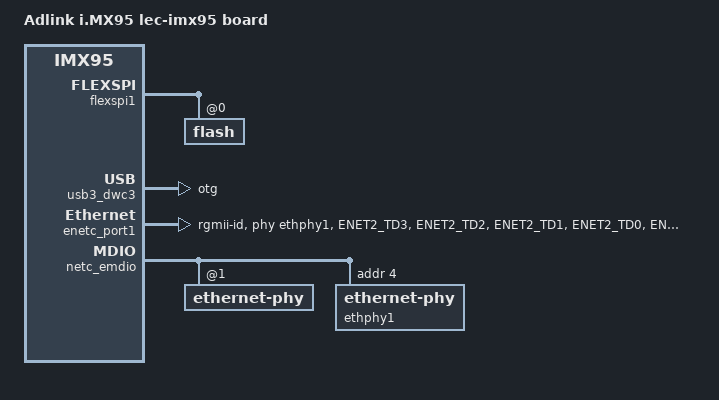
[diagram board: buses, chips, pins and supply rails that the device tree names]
#include "../dts/upstream/src/arm64/freescale/imx95-19x19-evk.dts"
#include "lec-imx95-u-boot.dtsi"

/ {
	model = "Adlink i.MX95 lec-imx95 board";
	compatible = "fsl,imx95-19x19-evk", "fsl,imx95", "adlink,lec-imx95";


};

&reg_usb_vbus {
        /delete-property/ gpio;
};

&reg_aqr_stby {
        /delete-property/ gpio;
};

&reg_aqr_en {
        /delete-property/ gpio;
};


/delete-node/ &reg_serdes_en;

&flexspi1 {
        flash@0 {
                spi-tx-bus-width = <1>;
                spi-rx-bus-width = <1>;
        };
};

&lpi2c3 {
        /delete-property/ status;
};

&lpi2c4 {
        /delete-property/ status;
};

&lpi2c5 {
        /delete-property/ status;
};

&lpi2c6 {
        /delete-property/ status;
};

&lpi2c7 {
        /delete-property/ status;
	/delete-node/ tcpc@50;
};

&usb2 {
	/delete-property/ vbus-supply;
};

&usb3_dwc3 {
        dr_mode = "otg";
        /delete-node/ port;
};

&usb3_phy {
        /delete-node/ port;
};

&enetc_port2 {
        status = "disabled";
        /delete-property/ serdes-supply;
        /delete-property/ managed;
};

&enetc_port1 {
 	pinctrl-names = "default";
 	pinctrl-0 = <&pinctrl_enetc1>;
 	phy-handle = <&ethphy1>;
 	phy-mode = "rgmii-id";
 	status = "okay";
};

&netc_emdio {
        /delete-property/ phy-supply;

        ethernet-phy@1 {
                eee-broken-1000t;
                /delete-property/ reset-gpios;
                /delete-property/ realtek,clkout-disable;
        };

        ethphy1: ethernet-phy@4 {
                reg = <4>;
                eee-broken-1000t;
                reset-assert-us = <10000>;
                reset-deassert-us = <80000>;
        };
};

&pinctrl_lpi2c3 {
        fsl,pins = <
                IMX95_PAD_GPIO_IO28__LPI2C3_SDA            0x40000b9e
                IMX95_PAD_GPIO_IO29__LPI2C3_SCL            0x40000b9e
        >;
};

&pinctrl_flexspi1 {
        fsl,pins = <
                IMX95_PAD_XSPI1_SS0_B__FLEXSPI1_A_SS0_B                 0x3fe
                IMX95_PAD_XSPI1_SCLK__FLEXSPI1_A_SCLK                   0x3fe
                IMX95_PAD_XSPI1_DATA0__FLEXSPI1_A_DATA_BIT0             0x3fe
                IMX95_PAD_XSPI1_DATA1__FLEXSPI1_A_DATA_BIT1             0x3fe
                IMX95_PAD_XSPI1_DATA2__FLEXSPI1_A_DATA_BIT2             0x3fe
                IMX95_PAD_XSPI1_DATA3__FLEXSPI1_A_DATA_BIT3             0x3fe
        >;
};


&scmi_iomuxc {
        pinctrl_enetc1: enetc1grp {
                fsl,pins = <
                        IMX95_PAD_ENET2_TD3__NETCMIX_TOP_ETH1_RGMII_TD3         0x57e
                        IMX95_PAD_ENET2_TD2__NETCMIX_TOP_ETH1_RGMII_TD2         0x57e
                        IMX95_PAD_ENET2_TD1__NETCMIX_TOP_ETH1_RGMII_TD1         0x57e
                        IMX95_PAD_ENET2_TD0__NETCMIX_TOP_ETH1_RGMII_TD0         0x57e
                        IMX95_PAD_ENET2_TX_CTL__NETCMIX_TOP_ETH1_RGMII_TX_CTL   0x57e
                        IMX95_PAD_ENET2_TXC__NETCMIX_TOP_ETH1_RGMII_TX_CLK      0x5fe
                        IMX95_PAD_ENET2_RX_CTL__NETCMIX_TOP_ETH1_RGMII_RX_CTL   0x57e
                        IMX95_PAD_ENET2_RXC__NETCMIX_TOP_ETH1_RGMII_RX_CLK      0x5fe
                        IMX95_PAD_ENET2_RD0__NETCMIX_TOP_ETH1_RGMII_RD0         0x57e
                        IMX95_PAD_ENET2_RD1__NETCMIX_TOP_ETH1_RGMII_RD1         0x57e
                        IMX95_PAD_ENET2_RD2__NETCMIX_TOP_ETH1_RGMII_RD2         0x57e
                        IMX95_PAD_ENET2_RD3__NETCMIX_TOP_ETH1_RGMII_RD3         0x57e
                >;
        };
};
